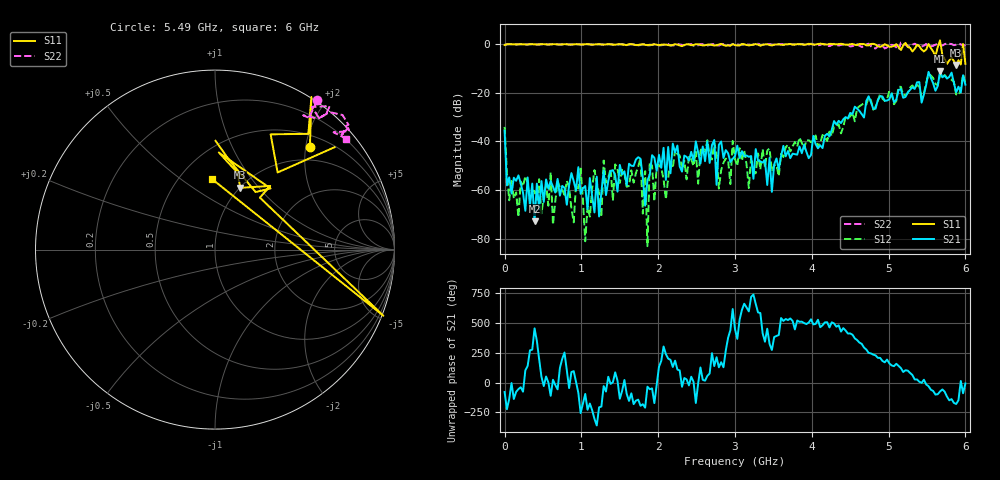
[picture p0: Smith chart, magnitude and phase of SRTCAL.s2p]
!Keysight Technologies N9916A: A.08.06
!Date: Thursday, 30 May 2024 20:18:20
!Timezone: (GMT+10:00) Brisbane
!Model: N9916A
!Serial: MY53102361
!GPS Latitude:
!GPS Longitude:
!GPS TimeStamp: 0001-01-01 00:00:00Z
!GPS Seconds Since Last Read: 0
!CHECKSUM:1479726791
!Correction: S11(ON U)S21(ON U)S12(ON U)S22(ON U)
!S2P File: Measurements:S11,S21,S12,S22:
# Hz S RI R 50
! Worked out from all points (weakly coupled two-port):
!   201 points, 30 kHz to 6 GHz, reference 50 ohm
!   highest |S21| = -11.17 dB at 5.67 GHz (marker M1); lowest = -72.9 dB at 390 MHz (marker M2)
!   lowest |S11| = -8.6 dB at 5.88 GHz (marker M3), VSWR 2.18, Z = 50.3 + j40.2 ohm
!   |S11| at or under -10 dB: nowhere
!   |S22| runs from -2.3 to 0.7 dB; largest |S21 - S12| = 0.077
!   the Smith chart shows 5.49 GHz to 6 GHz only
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30000  -0.9587 -0.1006  0.00337 -0.0163  0.0165 -0.0112  -0.9542 -0.1787
6.00297e7  -0.9998 0.027  -0.00135 -0.00124  -7.9e-05 0.000615  -1.002 0.0274
3.90028e8  -0.9802 0.1498  -1.69e-05 0.000226  -0.000288 -0.000919  -0.983 0.149
1.020025e9  -0.9032 0.399  -0.00108 -0.000123  -0.000528 0.000347  -0.8932 0.3979
1.050025e9  -0.9075 0.4164  -9.58e-05 -0.00121  4.75e-06 8.91e-05  -0.9032 0.4166
1.170024e9  -0.8753 0.4564  0.000188 0.000293  -0.00223 -0.00131  -0.8712 0.4524
1.260024e9  -0.8637 0.469  -0.000848 0.000318  -0.000274 -5.94e-05  -0.8697 0.4775
1.290024e9  -0.8501 0.4898  0.0022 -0.00124  0.00406 7.04e-05  -0.8444 0.4855
1.770021e9  -0.7349 0.6554  -0.00429 0.00109  -4.3e-05 0.00458  -0.7104 0.6467
1.800021e9  -0.7426 0.661  -0.00178 2.35e-05  0.000213 0.000253  -0.7396 0.6642
1.830021e9  -0.7306 0.6395  -0.000416 0.000239  -0.00246 -6.98e-06  -0.7425 0.6592
1.860021e9  -0.7003 0.6482  0.00133 -0.0009  6.11e-05 -3.54e-05  -0.6966 0.6443
1.890021e9  -0.6951 0.6808  0.00116 -0.00169  -0.00228 0.0031  -0.6653 0.6756
2.01002e9  -0.6593 0.6908  -0.00356 0.00397  0.00324 -0.00041  -0.6544 0.6832
3.000015e9  -0.3695 0.883  0.000201 0.00502  0.00121 -0.00417  -0.3678 0.9325
3.480013e9  -0.1414 0.9303  5.35e-05 -0.00092  -2.62e-07 -0.00246  -0.1771 0.9676
4.02001e9  0.036 0.9847  -0.00795 0.0104  -0.00703 0.00792  0.00128 0.988
5.010005e9  0.228 0.8504  -0.0694 0.0248  -0.1084 0.0139  0.402 0.8266
5.670002e9  0.71 0.9578  0.0758 -0.2657  0.0362 -0.2328  0.5399 0.7951
5.880001e9  0.1413 0.3442  -0.1023 -0.00173  -0.0841 -0.0391  0.7235 0.6558
5.97e9  0.9381 -0.3683  0.00278 -0.2303  0.0208 -0.237  0.6606 0.6534
6e9  -0.018 0.3942  0.1459 -0.0179  0.1487 -0.0405  0.7312 0.6174
